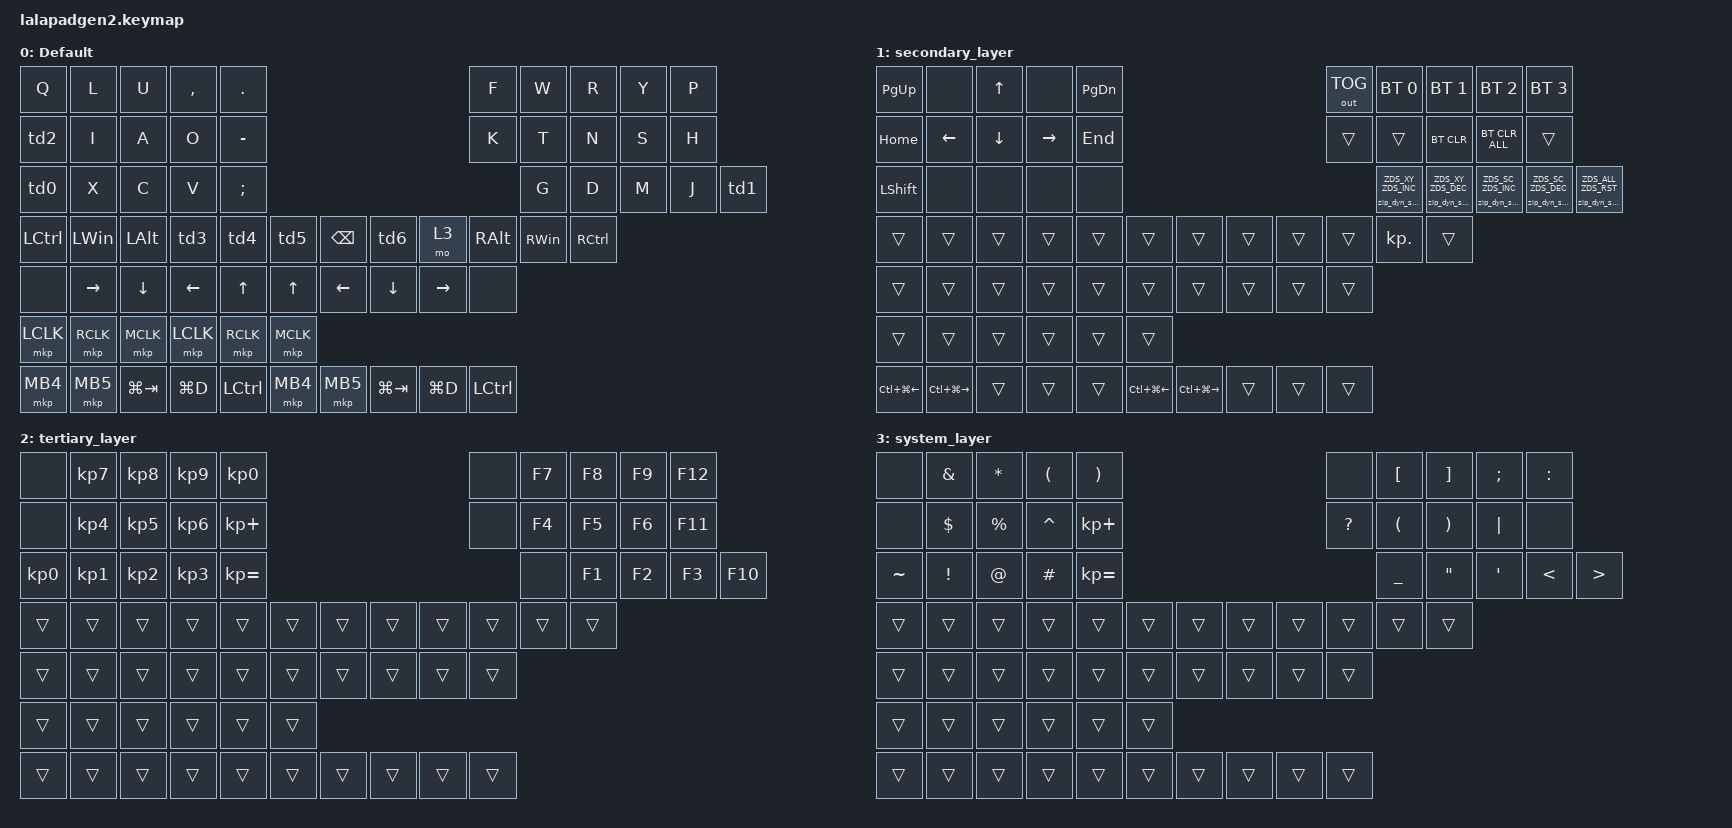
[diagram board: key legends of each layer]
#include <input/processors.dtsi>
#include <dt-bindings/zmk/zip_dynamic_scale.h>
#include <behaviors.dtsi>
#include <dt-bindings/zmk/bt.h>
#include <dt-bindings/zmk/keys.h>
#include <dt-bindings/zmk/outputs.h>
#include <dt-bindings/zmk/pointing.h>

#define DEFAULT_LAYER   0
#define SECONDARY_LAYER 1
#define TERTIARY_LAYER  2
#define SYSTEM_LAYER    3

&mt { quick-tap-ms = <200>; };

&lt { quick-tap-ms = <200>; };

/ {
    behaviors {
        zip_dyn_scale: zip_dyn_scale {
            compatible = "zmk,behavior-zip-dynamic-scale";
            #binding-cells = <2>;
        };

        zip_dyn_scale_set: zip_dyn_scale_set {
            compatible = "zmk,behavior-zip-dynamic-scale-set";
            #binding-cells = <2>;
        };

        mt2: mod_tap2 {
            compatible = "zmk,behavior-hold-tap";
            #binding-cells = <2>;
            flavor = "tap-preferred";
            tapping-term-ms = <200>;
            quick-tap-ms = <200>;
            require-prior-idle-ms = <125>;
            bindings = <&kp>, <&kp>;
        };

        tap_dance_layer_1and2: tap_dance_layer_1and2 {
            compatible = "zmk,behavior-tap-dance";
            label = "td_mo12";
            #binding-cells = <0>;
            bindings = <&mo 1>, <&mo 2>;
        };

        /* REMAP_LALAPAD_TD_BEGIN */
        td0: td0 {
            compatible = "zmk,behavior-tap-dance-triple";
            #binding-cells = <0>;
            tapping-term-ms = <200>;
            bindings = <&kp Z>, <&kp LEFT_SHIFT>, <&trans>;
        };

        td1: td1 {
            compatible = "zmk,behavior-tap-dance-triple";
            #binding-cells = <0>;
            tapping-term-ms = <200>;
            bindings = <&kp B>, <&kp RIGHT_SHIFT>, <&trans>;
        };

        td2: td2 {
            compatible = "zmk,behavior-tap-dance-triple";
            #binding-cells = <0>;
            tapping-term-ms = <200>;
            bindings = <&kp E>, <&kp CAPS>, <&trans>;
        };

        td3: td3 {
            compatible = "zmk,behavior-tap-dance-triple";
            #binding-cells = <0>;
            tapping-term-ms = <200>;
            bindings = <&kp LANGUAGE_2>, <&mo 4>, <&trans>;
        };

        td4: td4 {
            compatible = "zmk,behavior-tap-dance-triple";
            #binding-cells = <0>;
            tapping-term-ms = <200>;
            bindings = <&kp SPACE>, <&mo 2>, <&trans>;
        };

        td5: td5 {
            compatible = "zmk,behavior-tap-dance-triple";
            #binding-cells = <0>;
            tapping-term-ms = <200>;
            bindings = <&kp LANGUAGE_1>, <&mo 1>, <&trans>;
        };

        td6: td6 {
            compatible = "zmk,behavior-tap-dance-triple";
            #binding-cells = <0>;
            tapping-term-ms = <200>;
            bindings = <&kp ENTER>, <&mo 3>, <&trans>;
        };
        /* REMAP_LALAPAD_TD_END */
    };

    combos {
        compatible = "zmk,combos";

        CONBO_ESC {
            bindings = <&kp ESCAPE>;
            key-positions = <0 1>;
        };
        COMBO_TAB {
            bindings = <&kp TAB>;
            key-positions = <10 11>;
        };
        COMBO_LSHIFT {
            bindings = <&kp LEFT_SHIFT>;
            key-positions = <20 21>;
        };
        COMBO_BKSP {
            bindings = <&kp BACKSPACE>;
            key-positions = <8 9>;
        };
        COMBO_ENTER {
            bindings = <&kp ENTER>;
            key-positions = <18 19>;
        };
        COMBO_RSHIFT {
            bindings = <&kp RIGHT_SHIFT>;
            key-positions = <28 29>;
        };
    };

    keymap {
        compatible = "zmk,keymap";

        DEFAULT_LAYER {
            display-name = "Default";
            bindings = <
            &kp Q  &kp L  &kp U  &kp COMMA  &kp PERIOD  &kp F  &kp W  &kp R  &kp Y  &kp P
            &td2  &kp I  &kp A  &kp O  &kp MINUS  &kp K  &kp T  &kp N  &kp S  &kp H
            &td0  &kp X  &kp C  &kp V  &kp SEMI  &kp G  &kp D  &kp M  &kp J  &td1
            &kp LEFT_CONTROL  &kp LWIN  &kp LEFT_ALT  &td3  &td4  &td5  &kp BACKSPACE  &td6  &mo 3  &kp RIGHT_ALT  &kp RWIN  &kp RIGHT_CONTROL
            &none  &kp RIGHT  &kp DOWN  &kp LEFT  &kp UP  &kp UP  &kp LEFT  &kp DOWN  &kp RIGHT  &none
            &mkp LCLK  &mkp RCLK  &mkp MCLK  &mkp LCLK  &mkp RCLK  &mkp MCLK
            &mkp MB4  &mkp MB5  &kp LG(TAB)  &kp LG(D)  &kp LCTRL  &mkp MB4  &mkp MB5  &kp LG(TAB)  &kp LG(D)  &kp LCTRL
            >;
        };

        SECONDARY_LAYER {
            display-name = "secondary_layer";
            bindings = <
            &kp PAGE_UP  &none  &kp UP  &none  &kp PAGE_DOWN  &out OUT_TOG  &bt BT_SEL 0  &bt BT_SEL 1  &bt BT_SEL 2  &bt BT_SEL 3
            &kp HOME  &kp LEFT  &kp DOWN  &kp RIGHT  &kp END  &trans  &trans  &bt BT_CLR  &bt BT_CLR_ALL  &trans
            &kp LEFT_SHIFT  &none  &none  &none  &none  &zip_dyn_scale ZDS_XY ZDS_INC  &zip_dyn_scale ZDS_XY ZDS_DEC  &zip_dyn_scale ZDS_SC ZDS_INC  &zip_dyn_scale ZDS_SC ZDS_DEC  &zip_dyn_scale ZDS_ALL ZDS_RST
            &trans  &trans  &trans  &trans  &trans  &trans  &trans  &trans  &trans  &trans  &kp KP_DOT  &trans
            &trans  &trans  &trans  &trans  &trans  &trans  &trans  &trans  &trans  &trans
            &trans  &trans  &trans  &trans  &trans  &trans
            &kp LC(LG(LEFT))  &kp LC(LG(RIGHT))  &trans  &trans  &trans  &kp LC(LG(LEFT))  &kp LC(LG(RIGHT))  &trans  &trans  &trans
            >;
        };

        TERTIARY_LAYER {
            display-name = "tertiary_layer";
            bindings = <
            &none  &kp KP_NUMBER_7  &kp KP_NUMBER_8  &kp KP_NUMBER_9  &kp KP_NUMBER_0  &none  &kp F7  &kp F8  &kp F9  &kp F12
            &none  &kp KP_NUMBER_4  &kp KP_NUMBER_5  &kp KP_NUMBER_6  &kp KP_PLUS  &none  &kp F4  &kp F5  &kp F6  &kp F11
            &kp KP_NUMBER_0  &kp KP_NUMBER_1  &kp KP_NUMBER_2  &kp KP_NUMBER_3  &kp KP_EQUAL  &none  &kp F1  &kp F2  &kp F3  &kp F10
            &trans  &trans  &trans  &trans  &trans  &trans  &trans  &trans  &trans  &trans  &trans  &trans
            &trans  &trans  &trans  &trans  &trans  &trans  &trans  &trans  &trans  &trans
            &trans  &trans  &trans  &trans  &trans  &trans
            &trans  &trans  &trans  &trans  &trans  &trans  &trans  &trans  &trans  &trans
            >;
        };

        SYSTEM_LAYER {
            display-name = "system_layer";
            bindings = <
            &none  &kp AMPS  &kp ASTRK  &kp LPAR  &kp RPAR  &none  &kp LEFT_BRACKET  &kp RIGHT_BRACKET  &kp SEMI  &kp COLON
            &none  &kp DLLR  &kp PRCNT  &kp CARET  &kp KP_PLUS  &kp QMARK  &kp LPAR  &kp RPAR  &kp PIPE  &none
            &kp TILDE  &kp EXCL  &kp AT  &kp HASH  &kp KP_EQUAL  &kp UNDER  &kp DQT  &kp SQT  &kp LT  &kp GT
            &trans  &trans  &trans  &trans  &trans  &trans  &trans  &trans  &trans  &trans  &trans  &trans
            &trans  &trans  &trans  &trans  &trans  &trans  &trans  &trans  &trans  &trans
            &trans  &trans  &trans  &trans  &trans  &trans
            &trans  &trans  &trans  &trans  &trans  &trans  &trans  &trans  &trans  &trans
            >;
        };
    };

    conditional_layers {
        compatible = "zmk,conditional-layers";

        Cond_Syslayer {
            if-layers = <1 2>;
            then-layer = <3>;
        };
    };
};
